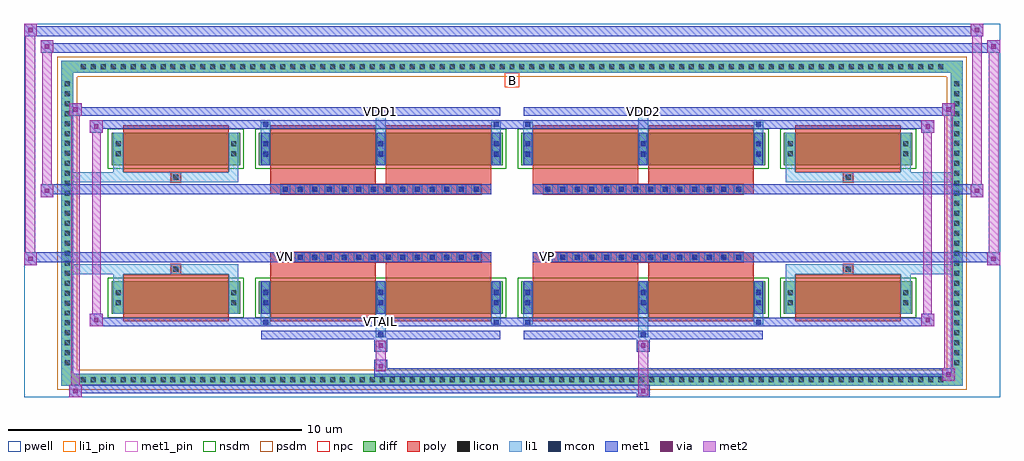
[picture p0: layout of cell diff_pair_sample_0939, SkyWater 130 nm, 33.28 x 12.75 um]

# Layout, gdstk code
import gdstk
lib = gdstk.Library(unit=1e-6, precision=5e-09)
def R(c, l, rs):  # rectangles x0, y0, x1, y1
    for r in rs: c.add(gdstk.rectangle(r[:2], r[2:], *l))
def A(c, l, x, y, w, h, nx, ny, dx, dy):  # array of equal rectangles
    R(c, l, [(x+i*dx, y+j*dy, x+i*dx+w, y+j*dy+h) for i in range(nx) for j in range(ny)])
def P(c, l, *ps):  # polygons
    for p in ps: c.add(gdstk.Polygon(p, *l))
pwell = (64, 44)
diff = (65, 20)
poly = (66, 20)
licon = (66, 44)
li1_pin = (67, 16)
li1 = (67, 20)
mcon = (67, 44)
met1_pin = (68, 16)
met1 = (68, 20)
via = (68, 44)
met2 = (69, 20)
nsdm = (93, 44)
psdm = (94, 20)
npc = (95, 20)

diff_pair_sample_0939 = lib.new_cell('diff_pair_sample_0939')
R(diff_pair_sample_0939, pwell, [(-16.64,-5.94,16.64,6.81), (-13.96,-4.13,-0.01,-0.795), (0.01,-4.13,13.96,-0.795), (-13.96,0.795,-0.01,4.13), (0.01,0.795,13.96,4.13)])
A(diff_pair_sample_0939, diff, -14.825, -5.54, 0.41, 0.41, 87, 2, 0.34, 10.67)
A(diff_pair_sample_0939, diff, -15.37, -4.965, 0.41, 0.41, 1, 29, 0, 0.34)
A(diff_pair_sample_0939, diff, 14.96, -4.965, 0.41, 0.41, 1, 29, 0, 0.34)
R(diff_pair_sample_0939, diff, [(-14.825,-5.54,14.825,-5.13), (-15.37,-4.965,-14.96,4.965), (14.96,-4.965,15.37,4.965), (-13.65,-3.085,-9.27,-1.985), (-8.63,-3.085,-0.32,-1.985), (0.32,-3.085,8.63,-1.985), (9.27,-3.085,13.65,-1.985), (-13.65,1.985,-9.27,3.085), (-8.63,1.985,-0.32,3.085), (0.32,1.985,8.63,3.085), (9.27,1.985,13.65,3.085), (-14.825,5.13,14.825,5.54)])
P(diff_pair_sample_0939, diff, [(15.37,5.54),(-15.37,5.54),(-15.37,-5.13),(-14.96,-5.13),(-14.96,5.13),(14.96,5.13),(14.96,-5.13),(-14.96,-5.13),(-15.37,-5.13),(-15.37,-5.54),(15.37,-5.54)])
A(diff_pair_sample_0939, poly, -7.89, -1.325, 0.33, 0.33, 14, 2, 0.5, 2.32)
A(diff_pair_sample_0939, poly, 1.06, -1.325, 0.33, 0.33, 14, 2, 0.5, 2.32)
R(diff_pair_sample_0939, poly, [(-13.26,-3.335,-9.66,-1.735), (-8.24,-3.335,-4.64,-1.735), (-4.31,-3.335,-0.71,-1.735), (0.71,-3.335,4.31,-1.735), (4.64,-3.335,8.24,-1.735), (9.66,-3.335,13.26,-1.735), (-11.625,-1.735,-11.295,-1.405), (-11.625,-1.735,-11.295,-1.405), (-8.24,-1.735,-4.64,-1.325), (-4.31,-1.735,-0.71,-1.325), (0.71,-1.735,4.31,-1.325), (4.64,-1.735,8.24,-1.325), (11.295,-1.735,11.625,-1.405), (11.295,-1.735,11.625,-1.405), (-8.24,-1.325,-0.71,-0.995), (0.71,-1.325,8.24,-0.995), (-8.24,0.995,-0.71,1.325), (0.71,0.995,8.24,1.325), (-8.24,1.325,-4.64,1.735), (-4.31,1.325,-0.71,1.735), (0.71,1.325,4.31,1.735), (4.64,1.325,8.24,1.735), (-11.625,1.405,-11.295,1.735), (-11.625,1.405,-11.295,1.735), (11.295,1.405,11.625,1.735), (11.295,1.405,11.625,1.735), (-13.26,1.735,-9.66,3.335), (-8.24,1.735,-4.64,3.335), (-4.31,1.735,-0.71,3.335), (0.71,1.735,4.31,3.335), (4.64,1.735,8.24,3.335), (9.66,1.735,13.26,3.335)])
A(diff_pair_sample_0939, licon, -14.705, -5.42, 0.17, 0.17, 87, 2, 0.34, 10.67)
A(diff_pair_sample_0939, licon, -15.25, -4.845, 0.17, 0.17, 1, 29, 0, 0.34)
A(diff_pair_sample_0939, licon, 15.08, -4.845, 0.17, 0.17, 1, 29, 0, 0.34)
A(diff_pair_sample_0939, licon, -8.49, -2.79, 0.17, 0.17, 3, 2, 3.93, 0.34)
A(diff_pair_sample_0939, licon, 0.46, -2.79, 0.17, 0.17, 3, 2, 3.93, 0.34)
A(diff_pair_sample_0939, licon, -7.81, -1.245, 0.17, 0.17, 14, 2, 0.5, 2.32)
A(diff_pair_sample_0939, licon, 1.14, -1.245, 0.17, 0.17, 14, 2, 0.5, 2.32)
A(diff_pair_sample_0939, licon, -8.49, 2.28, 0.17, 0.17, 3, 2, 3.93, 0.34)
A(diff_pair_sample_0939, licon, 0.46, 2.28, 0.17, 0.17, 3, 2, 3.93, 0.34)
R(diff_pair_sample_0939, licon, [(-13.51,-2.79,-13.34,-2.62), (-9.58,-2.79,-9.41,-2.62), (9.41,-2.79,9.58,-2.62), (13.34,-2.79,13.51,-2.62), (-13.51,-2.45,-13.34,-2.28), (-9.58,-2.45,-9.41,-2.28), (9.41,-2.45,9.58,-2.28), (13.34,-2.45,13.51,-2.28), (-11.545,-1.655,-11.375,-1.485), (11.375,-1.655,11.545,-1.485), (-11.545,1.485,-11.375,1.655), (11.375,1.485,11.545,1.655), (-13.51,2.28,-13.34,2.45), (-9.58,2.28,-9.41,2.45), (9.41,2.28,9.58,2.45), (13.34,2.28,13.51,2.45), (-13.51,2.62,-13.34,2.79), (-9.58,2.62,-9.41,2.79), (9.41,2.62,9.58,2.79), (13.34,2.62,13.51,2.79)])
R(diff_pair_sample_0939, li1_pin, [(-0.25,4.63,0.25,5.13)])
A(diff_pair_sample_0939, li1, -14.785, -5.5, 0.33, 0.33, 87, 2, 0.34, 10.67)
A(diff_pair_sample_0939, li1, -15.33, -4.925, 0.33, 0.33, 1, 29, 0, 0.34)
A(diff_pair_sample_0939, li1, 15, -4.925, 0.33, 0.33, 1, 29, 0, 0.34)
A(diff_pair_sample_0939, li1, -8.57, -3.085, 0.33, 1.1, 3, 2, 3.93, 5.07)
A(diff_pair_sample_0939, li1, 0.38, -3.085, 0.33, 1.1, 3, 2, 3.93, 5.07)
A(diff_pair_sample_0939, li1, -8.57, -2.87, 0.33, 0.33, 3, 2, 3.93, 0.34)
A(diff_pair_sample_0939, li1, 0.38, -2.87, 0.33, 0.33, 3, 2, 3.93, 0.34)
A(diff_pair_sample_0939, li1, -8.49, -2.8, 0.17, 0.17, 3, 2, 3.93, 0.36)
A(diff_pair_sample_0939, li1, -8.49, -2.8, 0.17, 0.53, 3, 2, 3.93, 5.07)
A(diff_pair_sample_0939, li1, 0.46, -2.8, 0.17, 0.17, 3, 2, 3.93, 0.36)
A(diff_pair_sample_0939, li1, 0.46, -2.8, 0.17, 0.53, 3, 2, 3.93, 5.07)
A(diff_pair_sample_0939, li1, -7.89, -1.325, 0.33, 0.33, 14, 2, 0.5, 2.32)
A(diff_pair_sample_0939, li1, 1.06, -1.325, 0.33, 0.33, 14, 2, 0.5, 2.32)
A(diff_pair_sample_0939, li1, -8.57, 2.2, 0.33, 0.33, 3, 2, 3.93, 0.34)
A(diff_pair_sample_0939, li1, 0.38, 2.2, 0.33, 0.33, 3, 2, 3.93, 0.34)
A(diff_pair_sample_0939, li1, -8.49, 2.27, 0.17, 0.17, 3, 2, 3.93, 0.36)
A(diff_pair_sample_0939, li1, 0.46, 2.27, 0.17, 0.17, 3, 2, 3.93, 0.36)
R(diff_pair_sample_0939, li1, [(-15.37,-5.54,-14.96,-5.13), (-15.37,-5.54,-14.96,-5.13), (-14.96,-5.54,14.96,-5.13), (14.96,-5.54,15.37,-5.13), (14.96,-5.54,15.37,-5.13), (-15.37,-5.13,-14.96,5.13), (14.96,-5.13,15.37,5.13), (-4.64,-3.89,-4.31,-3.085), (-4.56,-3.89,-4.39,-3.72), (4.31,-3.89,4.64,-3.085), (4.39,-3.89,4.56,-3.72), (-8.57,-3.46,-8.24,-3.085), (-8.49,-3.46,-8.32,-3.29), (-0.71,-3.46,-0.38,-3.085), (-0.63,-3.46,-0.46,-3.29), (0.38,-3.46,0.71,-3.085), (0.46,-3.46,0.63,-3.29), (8.24,-3.46,8.57,-3.085), (8.32,-3.46,8.49,-3.29), (-13.59,-3.085,-13.26,-1.985), (-9.66,-3.085,-9.33,-1.985), (9.33,-3.085,9.66,-1.985), (13.26,-3.085,13.59,-1.985), (-13.59,-2.87,-13.26,-2.54), (-9.66,-2.87,-9.33,-2.54), (9.33,-2.87,9.66,-2.54), (13.26,-2.87,13.59,-2.54), (-13.59,-2.53,-13.26,-2.2), (-9.66,-2.53,-9.33,-2.2), (9.33,-2.53,9.66,-2.2), (13.26,-2.53,13.59,-2.2), (-13.59,-1.985,-13.26,-1.405), (-9.66,-1.985,-9.33,-1.405), (9.33,-1.985,9.66,-1.405), (13.26,-1.985,13.59,-1.405), (-15.37,-1.735,-11.625,-1.405), (-13.59,-1.735,-11.625,-1.405), (-11.625,-1.735,-11.295,-1.405), (-11.295,-1.735,-9.33,-1.405), (9.33,-1.735,11.295,-1.405), (11.295,-1.735,11.625,-1.405), (11.295,-1.735,15.37,-1.405), (11.625,-1.735,13.59,-1.405), (-15.37,1.405,-11.625,1.735), (-13.59,1.405,-11.625,1.735), (-13.59,1.405,-13.26,1.985), (-11.625,1.405,-11.295,1.735), (-11.295,1.405,-9.33,1.735), (-9.66,1.405,-9.33,1.985), (9.33,1.405,11.295,1.735), (9.33,1.405,9.66,1.985), (11.295,1.405,11.625,1.735), (11.295,1.405,15.37,1.735), (11.625,1.405,13.59,1.735), (13.26,1.405,13.59,1.985), (-13.59,1.985,-13.26,3.085), (-9.66,1.985,-9.33,3.085), (9.33,1.985,9.66,3.085), (13.26,1.985,13.59,3.085), (-13.59,2.2,-13.26,2.53), (-9.66,2.2,-9.33,2.53), (9.33,2.2,9.66,2.53), (13.26,2.2,13.59,2.53), (-13.59,2.54,-13.26,2.87), (-9.66,2.54,-9.33,2.87), (9.33,2.54,9.66,2.87), (13.26,2.54,13.59,2.87), (-8.57,3.085,-8.24,3.46), (-4.64,3.085,-4.31,3.89), (-0.71,3.085,-0.38,3.46), (0.38,3.085,0.71,3.46), (4.31,3.085,4.64,3.89), (8.24,3.085,8.57,3.46), (-8.49,3.29,-8.32,3.46), (-0.63,3.29,-0.46,3.46), (0.46,3.29,0.63,3.46), (8.32,3.29,8.49,3.46), (-4.56,3.72,-4.39,3.89), (4.39,3.72,4.56,3.89), (-15.37,5.13,-14.96,5.54), (-15.37,5.13,-14.96,5.54), (-14.96,5.13,14.96,5.54), (14.96,5.13,15.37,5.54), (14.96,5.13,15.37,5.54)])
A(diff_pair_sample_0939, mcon, -8.49, -2.8, 0.17, 0.17, 3, 2, 3.93, 0.36)
A(diff_pair_sample_0939, mcon, 0.46, -2.8, 0.17, 0.17, 3, 2, 3.93, 0.36)
A(diff_pair_sample_0939, mcon, -7.81, -1.245, 0.17, 0.17, 14, 2, 0.5, 2.32)
A(diff_pair_sample_0939, mcon, 1.14, -1.245, 0.17, 0.17, 14, 2, 0.5, 2.32)
A(diff_pair_sample_0939, mcon, -8.49, 2.27, 0.17, 0.17, 3, 2, 3.93, 0.36)
A(diff_pair_sample_0939, mcon, 0.46, 2.27, 0.17, 0.17, 3, 2, 3.93, 0.36)
R(diff_pair_sample_0939, mcon, [(-4.56,-3.89,-4.39,-3.72), (4.39,-3.89,4.56,-3.72), (-8.49,-3.46,-8.32,-3.29), (-0.63,-3.46,-0.46,-3.29), (0.46,-3.46,0.63,-3.29), (8.32,-3.46,8.49,-3.29), (-8.49,3.29,-8.32,3.46), (-0.63,3.29,-0.46,3.46), (0.46,3.29,0.63,3.46), (8.32,3.29,8.49,3.46), (-4.56,3.72,-4.39,3.89), (4.39,3.72,4.56,3.89)])
R(diff_pair_sample_0939, met1_pin, [(-4.61,-3.5,-4.34,-3.23), (-7.86,-1.285,-7.59,-1.015), (1.09,-1.285,1.36,-1.015), (-4.61,3.68,-4.34,3.95), (4.34,3.68,4.61,3.95)])
A(diff_pair_sample_0939, met1, -8.55, -3.085, 0.29, 1.1, 3, 2, 3.93, 5.07)
A(diff_pair_sample_0939, met1, 0.4, -3.085, 0.29, 1.1, 3, 2, 3.93, 5.07)
A(diff_pair_sample_0939, met1, -8.55, -2.86, 0.29, 0.29, 3, 2, 3.93, 0.36)
A(diff_pair_sample_0939, met1, 0.4, -2.86, 0.29, 0.29, 3, 2, 3.93, 0.36)
A(diff_pair_sample_0939, met1, -7.87, -1.305, 0.29, 0.29, 14, 2, 0.5, 2.32)
A(diff_pair_sample_0939, met1, 1.08, -1.305, 0.29, 0.29, 14, 2, 0.5, 2.32)
A(diff_pair_sample_0939, met1, -8.55, 2.21, 0.29, 0.29, 3, 2, 3.93, 0.36)
A(diff_pair_sample_0939, met1, 0.4, 2.21, 0.29, 0.29, 3, 2, 3.93, 0.36)
R(diff_pair_sample_0939, met1, [(-15.1,-5.94,-14.67,-5.51), (4.26,-5.94,4.69,-5.51), (-15.1,-5.8,4.69,-5.51), (14.67,-5.37,15.1,-4.94), (-4.69,-5.23,15.1,-4.94), (-4.69,-5.09,-4.26,-4.66), (-4.69,-4.38,-4.26,-3.95), (4.26,-4.38,4.69,-3.95), (-8.55,-3.95,-0.4,-3.66), (-4.62,-3.95,-4.33,-3.66), (0.4,-3.95,8.55,-3.66), (4.33,-3.95,4.62,-3.66), (-14.39,-3.52,-13.96,-3.09), (-14.39,-3.52,-8.55,-3.23), (-8.55,-3.52,-8.26,-3.23), (-8.55,-3.52,-0.4,-3.23), (-0.69,-3.52,-0.4,-3.23), (-0.4,-3.52,0.4,-3.23), (0.4,-3.52,0.69,-3.23), (0.4,-3.52,8.55,-3.23), (8.26,-3.52,8.55,-3.23), (8.55,-3.52,14.39,-3.23), (13.96,-3.52,14.39,-3.09), (-16.64,-1.425,-16.21,-0.995), (16.21,-1.425,16.64,-0.995), (-16.64,-1.325,-0.71,-0.995), (-8.24,-1.325,-0.71,-0.995), (0.71,-1.325,8.24,-0.995), (0.71,-1.325,16.64,-0.995), (-16.07,0.895,-15.64,1.325), (15.64,0.895,16.07,1.325), (-16.07,0.995,-8.24,1.325), (-8.24,0.995,-0.71,1.325), (0.71,0.995,8.24,1.325), (8.24,0.995,16.07,1.325), (-14.39,3.09,-13.96,3.52), (13.96,3.09,14.39,3.52), (-14.39,3.23,-8.55,3.52), (-8.55,3.23,-8.26,3.52), (-8.55,3.23,-0.4,3.52), (-0.69,3.23,-0.4,3.52), (-0.4,3.23,0.4,3.52), (0.4,3.23,0.69,3.52), (0.4,3.23,8.55,3.52), (8.26,3.23,8.55,3.52), (8.55,3.23,14.39,3.52), (-15.1,3.66,-14.67,4.09), (-15.1,3.66,-8.55,3.95), (-8.55,3.66,-0.4,3.95), (-4.62,3.66,-4.33,3.95), (0.4,3.66,8.55,3.95), (4.33,3.66,4.62,3.95), (8.55,3.66,15.1,3.95), (14.67,3.66,15.1,4.09), (-16.07,5.81,-15.64,6.24), (-16.07,5.81,-13.96,6.14), (-13.96,5.81,13.96,6.14), (13.96,5.81,16.64,6.14), (16.21,5.81,16.64,6.24), (-16.64,6.38,-16.21,6.81), (-16.64,6.38,-13.96,6.71), (-13.96,6.38,13.96,6.71), (13.96,6.38,16.07,6.71), (15.64,6.38,16.07,6.81)])
R(diff_pair_sample_0939, via, [(-14.96,-5.8,-14.81,-5.65), (4.4,-5.8,4.55,-5.65), (14.81,-5.23,14.96,-5.08), (-4.55,-4.95,-4.4,-4.8), (-4.55,-4.24,-4.4,-4.09), (4.4,-4.24,4.55,-4.09), (-14.25,-3.38,-14.1,-3.23), (14.1,-3.38,14.25,-3.23), (-16.5,-1.285,-16.35,-1.135), (16.35,-1.285,16.5,-1.135), (-15.93,1.035,-15.78,1.185), (15.78,1.035,15.93,1.185), (-14.25,3.23,-14.1,3.38), (14.1,3.23,14.25,3.38), (-14.96,3.8,-14.81,3.95), (14.81,3.8,14.96,3.95), (-15.93,5.95,-15.78,6.1), (16.35,5.95,16.5,6.1), (-16.5,6.52,-16.35,6.67), (15.78,6.52,15.93,6.67)])
R(diff_pair_sample_0939, met2, [(-15.1,-5.94,-14.67,-5.51), (-15.03,-5.94,-14.74,4.09), (-14.74,-5.94,-14.67,-5.51), (-15.05,-5.89,-14.72,-5.56), (4.31,-5.89,4.64,-5.56), (4.31,-5.56,4.64,-4.33), (14.67,-5.37,15.1,-4.94), (14.74,-5.37,15.03,4.09), (15.03,-5.37,15.1,-4.94), (14.72,-5.32,15.05,-4.99), (-4.64,-5.04,-4.31,-4.71), (-4.64,-4.71,-4.31,-4.33), (-4.64,-4.33,-4.31,-4), (4.31,-4.33,4.64,-4), (-14.39,-3.52,-13.96,-3.09), (-14.32,-3.52,-14.03,3.52), (-14.03,-3.52,-13.96,-3.09), (13.96,-3.52,14.39,-3.09), (14.03,-3.52,14.32,3.52), (14.32,-3.52,14.39,-3.09), (-14.34,-3.47,-14.01,-3.14), (14.01,-3.47,14.34,-3.14), (-16.64,-1.425,-16.21,-0.995), (-16.59,-1.425,-16.26,6.81), (-16.26,-1.425,-16.21,-0.995), (16.21,-1.425,16.64,-0.995), (16.26,-1.425,16.59,6.24), (16.59,-1.425,16.64,-0.995), (-16.59,-1.375,-16.26,-1.045), (16.26,-1.375,16.59,-1.045), (-16.07,0.895,-15.64,1.325), (-16.02,0.895,-15.69,6.24), (-15.69,0.895,-15.64,1.325), (15.64,0.895,16.07,1.325), (15.69,0.895,16.02,6.81), (16.02,0.895,16.07,1.325), (-16.02,0.945,-15.69,1.275), (15.69,0.945,16.02,1.275), (-14.39,3.09,-13.96,3.52), (-14.03,3.09,-13.96,3.52), (13.96,3.09,14.39,3.52), (14.32,3.09,14.39,3.52), (-14.34,3.14,-14.01,3.47), (14.01,3.14,14.34,3.47), (-15.1,3.66,-14.67,4.09), (-14.74,3.66,-14.67,4.09), (14.67,3.66,15.1,4.09), (15.03,3.66,15.1,4.09), (-15.05,3.71,-14.72,4.04), (14.72,3.71,15.05,4.04), (-16.07,5.81,-15.64,6.24), (-15.69,5.81,-15.64,6.24), (16.21,5.81,16.64,6.24), (16.59,5.81,16.64,6.24), (-16.02,5.86,-15.69,6.19), (16.26,5.86,16.59,6.19), (-16.64,6.38,-16.21,6.81), (-16.26,6.38,-16.21,6.81), (15.64,6.38,16.07,6.81), (16.02,6.38,16.07,6.81), (-16.59,6.43,-16.26,6.76), (15.69,6.43,16.02,6.76)])
R(diff_pair_sample_0939, nsdm, [(-13.78,-3.215,-9.14,-1.855), (-8.76,-3.215,-0.19,-1.855), (0.19,-3.215,8.76,-1.855), (9.14,-3.215,13.78,-1.855), (-13.78,1.855,-9.14,3.215), (-8.76,1.855,-0.19,3.215), (0.19,1.855,8.76,3.215), (9.14,1.855,13.78,3.215)])
P(diff_pair_sample_0939, psdm, [(15.5,5.67),(-15.5,5.67),(-15.5,-5),(-14.83,-5),(-14.83,5),(14.83,5),(14.83,-5),(-14.83,-5),(-15.5,-5),(-15.5,-5.67),(15.5,-5.67)])
A(diff_pair_sample_0939, npc, -7.91, -1.345, 0.37, 0.37, 14, 2, 0.5, 2.32)
A(diff_pair_sample_0939, npc, 1.04, -1.345, 0.37, 0.37, 14, 2, 0.5, 2.32)
R(diff_pair_sample_0939, npc, [(-11.645,-1.755,-11.275,-1.385), (11.275,-1.755,11.645,-1.385), (-7.91,-1.345,-7.04,-0.975), (-7.91,-1.345,-7.04,-0.975), (-7.41,-1.345,-6.54,-0.975), (-7.41,-1.345,-6.54,-0.975), (-6.91,-1.345,-6.04,-0.975), (-6.91,-1.345,-6.04,-0.975), (-6.41,-1.345,-5.54,-0.975), (-6.41,-1.345,-5.54,-0.975), (-5.91,-1.345,-5.04,-0.975), (-5.91,-1.345,-5.04,-0.975), (-5.41,-1.345,-4.54,-0.975), (-5.41,-1.345,-4.54,-0.975), (-4.91,-1.345,-4.04,-0.975), (-4.91,-1.345,-4.04,-0.975), (-4.41,-1.345,-3.54,-0.975), (-4.41,-1.345,-3.54,-0.975), (-3.91,-1.345,-3.04,-0.975), (-3.91,-1.345,-3.04,-0.975), (-3.41,-1.345,-2.54,-0.975), (-3.41,-1.345,-2.54,-0.975), (-2.91,-1.345,-2.04,-0.975), (-2.91,-1.345,-2.04,-0.975), (-2.41,-1.345,-1.54,-0.975), (-2.41,-1.345,-1.54,-0.975), (-1.91,-1.345,-1.04,-0.975), (-1.91,-1.345,-1.04,-0.975), (1.04,-1.345,1.91,-0.975), (1.04,-1.345,1.91,-0.975), (1.54,-1.345,2.41,-0.975), (1.54,-1.345,2.41,-0.975), (2.04,-1.345,2.91,-0.975), (2.04,-1.345,2.91,-0.975), (2.54,-1.345,3.41,-0.975), (2.54,-1.345,3.41,-0.975), (3.04,-1.345,3.91,-0.975), (3.04,-1.345,3.91,-0.975), (3.54,-1.345,4.41,-0.975), (3.54,-1.345,4.41,-0.975), (4.04,-1.345,4.91,-0.975), (4.04,-1.345,4.91,-0.975), (4.54,-1.345,5.41,-0.975), (4.54,-1.345,5.41,-0.975), (5.04,-1.345,5.91,-0.975), (5.04,-1.345,5.91,-0.975), (5.54,-1.345,6.41,-0.975), (5.54,-1.345,6.41,-0.975), (6.04,-1.345,6.91,-0.975), (6.04,-1.345,6.91,-0.975), (6.54,-1.345,7.41,-0.975), (6.54,-1.345,7.41,-0.975), (7.04,-1.345,7.91,-0.975), (7.04,-1.345,7.91,-0.975), (-7.91,0.975,-7.04,1.345), (-7.91,0.975,-7.04,1.345), (-7.41,0.975,-6.54,1.345), (-7.41,0.975,-6.54,1.345), (-6.91,0.975,-6.04,1.345), (-6.91,0.975,-6.04,1.345), (-6.41,0.975,-5.54,1.345), (-6.41,0.975,-5.54,1.345), (-5.91,0.975,-5.04,1.345), (-5.91,0.975,-5.04,1.345), (-5.41,0.975,-4.54,1.345), (-5.41,0.975,-4.54,1.345), (-4.91,0.975,-4.04,1.345), (-4.91,0.975,-4.04,1.345), (-4.41,0.975,-3.54,1.345), (-4.41,0.975,-3.54,1.345), (-3.91,0.975,-3.04,1.345), (-3.91,0.975,-3.04,1.345), (-3.41,0.975,-2.54,1.345), (-3.41,0.975,-2.54,1.345), (-2.91,0.975,-2.04,1.345), (-2.91,0.975,-2.04,1.345), (-2.41,0.975,-1.54,1.345), (-2.41,0.975,-1.54,1.345), (-1.91,0.975,-1.04,1.345), (-1.91,0.975,-1.04,1.345), (1.04,0.975,1.91,1.345), (1.04,0.975,1.91,1.345), (1.54,0.975,2.41,1.345), (1.54,0.975,2.41,1.345), (2.04,0.975,2.91,1.345), (2.04,0.975,2.91,1.345), (2.54,0.975,3.41,1.345), (2.54,0.975,3.41,1.345), (3.04,0.975,3.91,1.345), (3.04,0.975,3.91,1.345), (3.54,0.975,4.41,1.345), (3.54,0.975,4.41,1.345), (4.04,0.975,4.91,1.345), (4.04,0.975,4.91,1.345), (4.54,0.975,5.41,1.345), (4.54,0.975,5.41,1.345), (5.04,0.975,5.91,1.345), (5.04,0.975,5.91,1.345), (5.54,0.975,6.41,1.345), (5.54,0.975,6.41,1.345), (6.04,0.975,6.91,1.345), (6.04,0.975,6.91,1.345), (6.54,0.975,7.41,1.345), (6.54,0.975,7.41,1.345), (7.04,0.975,7.91,1.345), (7.04,0.975,7.91,1.345), (-11.645,1.385,-11.275,1.755), (11.275,1.385,11.645,1.755)])
diff_pair_sample_0939.add(gdstk.Label('VTAIL', (-4.475,-3.365), layer=68, texttype=5))
diff_pair_sample_0939.add(gdstk.Label('VN', (-7.725,-1.15), layer=68, texttype=5))
diff_pair_sample_0939.add(gdstk.Label('VP', (1.225,-1.15), layer=68, texttype=5))
diff_pair_sample_0939.add(gdstk.Label('B', (0,4.88), layer=67, texttype=5))
diff_pair_sample_0939.add(gdstk.Label('VDD2', (4.475,3.815), layer=68, texttype=5))
diff_pair_sample_0939.add(gdstk.Label('VDD1', (-4.475,3.815), layer=68, texttype=5))

lib.write_gds('diff_pair_sample_0939.gds')
